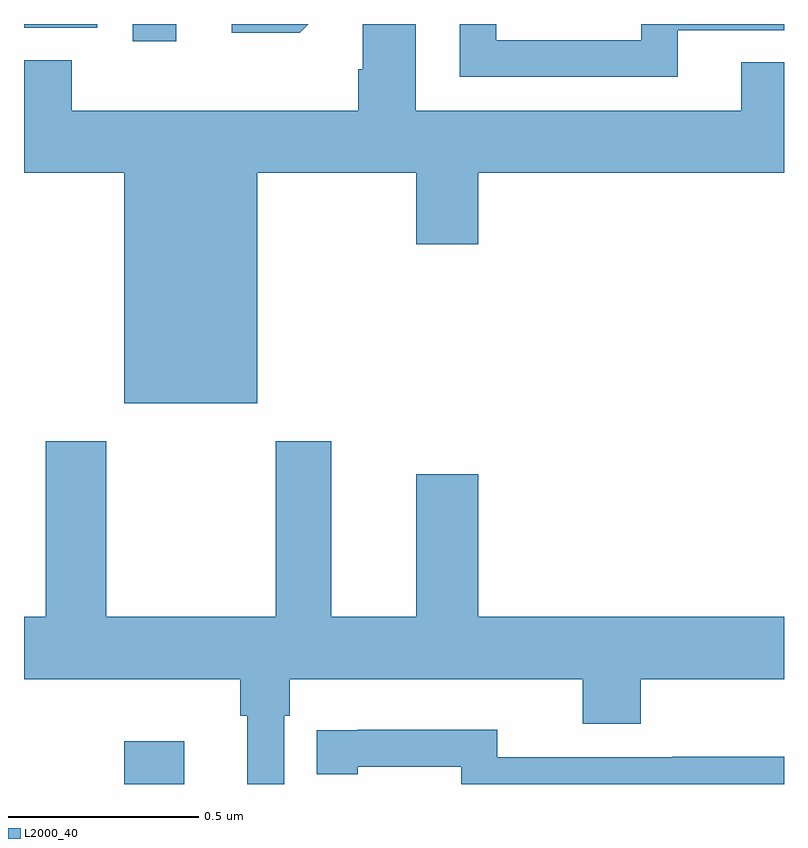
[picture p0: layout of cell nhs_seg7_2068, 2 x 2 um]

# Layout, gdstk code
import gdstk
lib = gdstk.Library(unit=1e-6, precision=1e-09)
def R(c, l, rs):  # rectangles x0, y0, x1, y1
    for r in rs: c.add(gdstk.rectangle(r[:2], r[2:], *l))
def P(c, l, *ps):  # polygons
    for p in ps: c.add(gdstk.Polygon(p, *l))
L2000_40 = (2000, 40)

nhs_seg7_2068 = lib.new_cell('nhs_seg7_2068')
R(nhs_seg7_2068, L2000_40, [(140.264,1007,140.422,1007.113), (140.286,1008.954,140.401,1009), (140,1008.99,140.193,1009)])
P(nhs_seg7_2068, L2000_40, [(141.721,1008.984),(142,1008.984),(142,1009),(141.624,1009),(141.624,1008.957),(141.243,1008.957),(141.243,1009),(141.147,1009),(141.147,1008.861),(141.721,1008.861)],
  [(140.614,1008.608),(141.032,1008.608),(141.032,1008.42),(141.196,1008.42),(141.196,1008.608),(142,1008.608),(142,1008.899),(141.887,1008.899),(141.887,1008.772),(141.031,1008.772),(141.031,1009),(140.892,1009),(140.892,1008.881),(140.879,1008.881),(140.879,1008.772),(140.126,1008.772),(140.126,1008.905),(140,1008.905),(140,1008.608),(140.264,1008.608),(140.264,1008.002),(140.614,1008.002)],
  [(140.748,1009),(140.547,1009),(140.547,1008.977),(140.725,1008.977)],
  [(140.685,1007.18),(140.699,1007.18),(140.699,1007.276),(141.47,1007.276),(141.47,1007.159),(141.623,1007.159),(141.623,1007.276),(142,1007.276),(142,1007.44),(141.196,1007.44),(141.196,1007.815),(141.032,1007.815),(141.032,1007.44),(140.809,1007.44),(140.809,1007.902),(140.662,1007.902),(140.662,1007.44),(140.217,1007.44),(140.217,1007.902),(140.057,1007.902),(140.057,1007.44),(140,1007.44),(140,1007.276),(140.569,1007.276),(140.569,1007.18),(140.588,1007.18),(140.588,1007),(140.685,1007)],
  [(142,1007.072),(141.706,1007.072),(141.706,1007.07),(141.246,1007.07),(141.246,1007.143),(140.878,1007.143),(140.878,1007.142),(140.77,1007.142),(140.77,1007.026),(140.878,1007.026),(140.878,1007.046),(141.15,1007.046),(141.15,1007),(142,1007)])

lib.write_gds('nhs_seg7_2068.gds')
